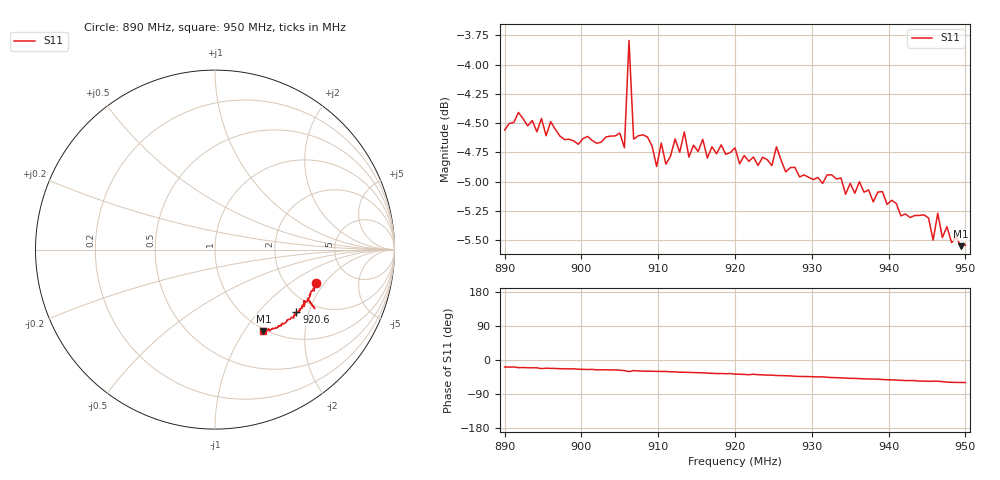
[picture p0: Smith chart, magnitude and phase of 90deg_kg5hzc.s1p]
# HZ S RI R 50
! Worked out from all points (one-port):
!   101 points, 890 MHz to 950 MHz, reference 50 ohm
!   lowest |S11| = -5.5 dB at 949.4 MHz (marker M1), VSWR 3.24, Z = 48.9 - j61.4 ohm
!   |S11| at or under -10 dB: nowhere
!   S11 on the Smith chart (normalised r, x): 890 MHz: 2.85, -1.65; 920.6 MHz: 1.60, -1.66; 950 MHz: 0.97, -1.23
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8.9e8  0.5612 -0.1874
8.912e8  0.5659 -0.1872
8.918e8  0.5649 -0.2082
8.942e8  0.553 -0.2076
8.948e8  0.5523 -0.2306
8.954e8  0.5471 -0.2165
8.978e8  0.5387 -0.2311
9.05e8  0.5255 -0.268
9.056e8  0.514 -0.2719
9.062e8  0.556 -0.3292
9.068e8  0.5182 -0.2746
9.11e8  0.494 -0.2886
9.128e8  0.4897 -0.3086
9.134e8  0.4988 -0.3163
9.14e8  0.485 -0.311
9.2e8  0.4632 -0.3514
9.206e8  0.4531 -0.3497
9.224e8  0.4565 -0.3516
9.278e8  0.4176 -0.3885
9.314e8  0.4007 -0.3932
9.35e8  0.3721 -0.4205
9.428e8  0.3172 -0.4406
9.452e8  0.3017 -0.4511
9.458e8  0.2972 -0.44
9.464e8  0.306 -0.4513
9.482e8  0.2737 -0.4535
9.494e8  0.2702 -0.4535
9.5e8  0.2687 -0.4551
